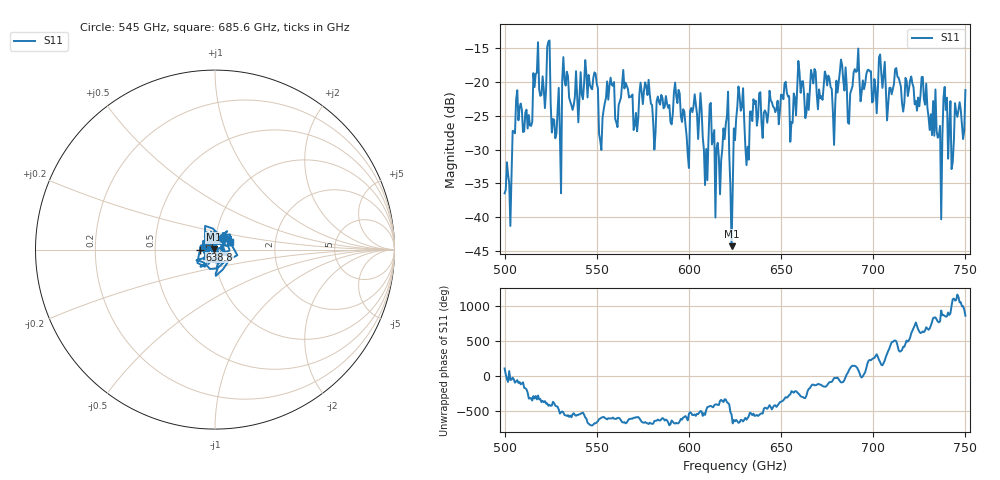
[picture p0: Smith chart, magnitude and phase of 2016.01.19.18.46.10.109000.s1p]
!Created with skrf (http://scikit-rf.org).
# GHz S RI R 50.0
!freq ReS11 ImS11
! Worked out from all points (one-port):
!   401 points, 500 GHz to 750 GHz, reference 50 ohm
!   lowest |S11| = -44.3 dB at 623.1 GHz (marker M1), VSWR 1.01, Z = 49.4 + j0.0878 ohm
!   |S11| at or under -10 dB: start of sweep to end of sweep
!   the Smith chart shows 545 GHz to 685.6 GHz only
!   S11 on the Smith chart (normalised r, x): 545 GHz: 1.08, +0.14; 638.8 GHz: 0.84, -0.00; 685.6 GHz: 1.18, +0.10
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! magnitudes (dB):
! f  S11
! 500 GHz  -36.5
! 513.8 GHz  -26.4
! 516.9 GHz  -18.8
! 531.2 GHz  -19.7
! 545 GHz  -22.3
! 552.5 GHz  -30.0
! 556.9 GHz  -20.6
! 562.5 GHz  -22.9
! 593.8 GHz  -23.1
! 608.8 GHz  -35.3
! 612.5 GHz  -29.2
! 615.6 GHz  -29.0
! 620 GHz  -26.2
! 623.1 GHz  -44.3
! 625 GHz  -28.6
! 628.1 GHz  -24.2
! 631.2 GHz  -32.3
! 638.8 GHz  -21.5
! 656.2 GHz  -26.0
! 660.6 GHz  -21.6
! 685.6 GHz  -20.6
! 687.5 GHz  -21.7
! 690.6 GHz  -18.5
! 718.8 GHz  -22.1
! 736.2 GHz  -26.5
! 738.8 GHz  -20.7
! 741.9 GHz  -22.8
! 750 GHz  -21.2
